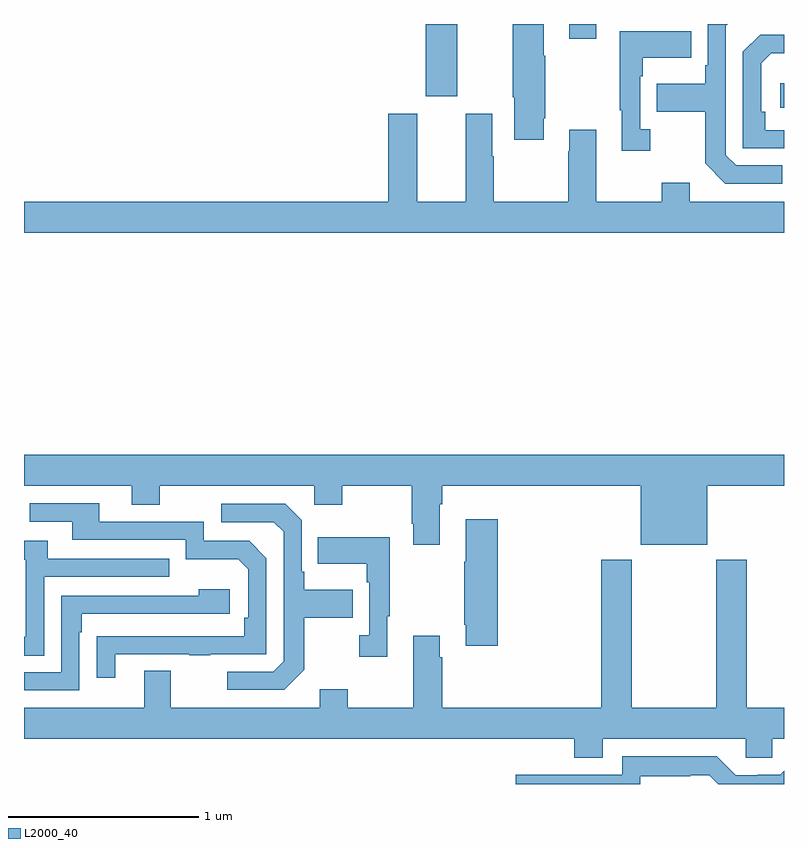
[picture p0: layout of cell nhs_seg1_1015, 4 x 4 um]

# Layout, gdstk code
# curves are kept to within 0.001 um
import gdstk
lib = gdstk.Library(unit=1e-6, precision=1e-09)
def R(c, l, rs):  # rectangles x0, y0, x1, y1
    for r in rs: c.add(gdstk.rectangle(r[:2], r[2:], *l))
def P(c, l, *ps):  # polygons
    for p in ps: c.add(gdstk.Polygon(p, *l))
L2000_40 = (2000, 40)

nhs_seg1_1015 = lib.new_cell('nhs_seg1_1015')
R(nhs_seg1_1015, L2000_40, [(170.979,517.758,171,517.888), (169.115,517.818,169.279,518.199), (169.871,518.121,170.011,518.199)])
P(nhs_seg1_1015, L2000_40, [(169.735,517.702),(169.743,517.702),(169.743,518.033),(169.735,518.033),(169.735,518.199),(169.573,518.199),(169.573,517.813),(169.58,517.813),(169.58,517.59),(169.735,517.59)],
  [(170.992,517.455),(170.748,517.455),(170.694,517.509),(170.694,518.19),(170.703,518.199),(170.598,518.199),(170.598,517.981),(170.586,517.981),(170.586,517.885),(170.329,517.885),(170.329,517.738),(170.586,517.738),(170.586,517.465),(170.691,517.359),(170.992,517.359)],
  [(170.296,517.645),(170.244,517.645),(170.244,517.925),(170.257,517.925),(170.257,518.021),(170.513,518.021),(170.513,518.161),(170.136,518.161),(170.136,517.745),(170.147,517.745),(170.147,517.533),(170.296,517.533)],
  [(171,517.641),(170.9,517.641),(170.9,517.738),(170.88,517.738),(170.88,517.992),(170.933,518.045),(171,518.045),(171,518.142),(170.874,518.142),(170.784,518.052),(170.784,517.545),(171,517.545)],
  [(171,517.264),(170.503,517.264),(170.503,517.363),(170.356,517.363),(170.356,517.264),(170.011,517.264),(170.011,517.642),(169.871,517.642),(169.871,517.529),(169.864,517.529),(169.864,517.264),(169.473,517.264),(169.473,517.502),(169.465,517.502),(169.465,517.726),(169.325,517.726),(169.325,517.264),(169.069,517.264),(169.069,517.726),(168.917,517.726),(168.917,517.264),(167,517.264),(167,517.1),(171,517.1)],
  [(167,515.768),(167.567,515.768),(167.567,515.669),(167.715,515.669),(167.715,515.768),(168.528,515.768),(168.528,515.669),(168.675,515.669),(168.675,515.768),(169.042,515.768),(169.042,515.569),(169.049,515.569),(169.049,515.457),(169.189,515.457),(169.189,515.672),(169.202,515.672),(169.202,515.768),(170.246,515.768),(170.246,515.459),(170.596,515.459),(170.596,515.768),(171,515.768),(171,515.932),(167,515.932)],
  [(167.479,514.881),(167.869,514.881),(167.869,514.876),(167.981,514.876),(167.981,514.881),(168.276,514.881),(168.276,515.388),(168.186,515.478),(167.946,515.478),(167.946,515.58),(167.395,515.58),(167.395,515.676),(167.031,515.676),(167.031,515.58),(167.255,515.58),(167.255,515.484),(167.85,515.484),(167.85,515.381),(168.127,515.381),(168.18,515.328),(168.18,515.074),(168.16,515.074),(168.16,514.977),(167.383,514.976),(167.383,514.758),(167.479,514.758)],
  [(168.475,514.801),(168.475,515.074),(168.731,515.074),(168.731,515.221),(168.475,515.221),(168.475,515.317),(168.462,515.317),(168.462,515.586),(168.375,515.673),(168.039,515.673),(168.039,515.577),(168.315,515.577),(168.366,515.526),(168.366,514.845),(168.312,514.791),(168.069,514.791),(168.069,514.695),(168.369,514.695)],
  [(169.493,515.593),(169.325,515.593),(169.325,515.369),(169.318,515.369),(169.318,515.038),(169.325,515.038),(169.325,514.926),(169.493,514.926)],
  [(168.913,515.081),(168.925,515.081),(168.925,515.497),(168.547,515.497),(168.547,515.357),(168.804,515.357),(168.804,515.261),(168.816,515.261),(168.816,514.982),(168.765,514.982),(168.765,514.869),(168.913,514.869)],
  [(167.106,515.289),(167.765,515.289),(167.765,515.385),(167.125,515.385),(167.125,515.479),(167,515.479),(167,515.379),(167.01,515.379),(167.01,514.974),(167,514.974),(167,514.873),(167.106,514.873)],
  [(170.047,514.436),(170.799,514.436),(170.799,514.338),(170.937,514.338),(170.937,514.436),(171,514.436),(171,514.6),(170.804,514.6),(170.804,515.38),(170.644,515.38),(170.644,514.6),(170.199,514.6),(170.199,515.38),(170.039,515.38),(170.039,514.6),(169.202,514.6),(169.202,514.865),(169.189,514.865),(169.189,514.978),(169.049,514.978),(169.049,514.6),(168.705,514.6),(168.705,514.699),(168.557,514.699),(168.557,514.6),(167.773,514.6),(167.773,514.795),(167.633,514.795),(167.633,514.6),(167,514.6),(167,514.436),(169.895,514.436),(169.895,514.337),(170.047,514.337)],
  [(167.292,514.997),(167.305,514.997),(167.305,515.094),(168.082,515.094),(168.082,515.224),(167.921,515.224),(167.921,515.19),(167.196,515.19),(167.196,514.788),(167,514.788),(167,514.692),(167.292,514.692)],
  [(170.244,514.241),(170.507,514.241),(170.507,514.245),(170.607,514.245),(170.653,514.199),(171,514.199),(171,514.269),(170.979,514.248),(170.861,514.248),(170.861,514.245),(170.745,514.245),(170.645,514.345),(170.148,514.345),(170.148,514.248),(169.587,514.248),(169.587,514.199),(170.244,514.199)])

lib.write_gds('nhs_seg1_1015.gds')
